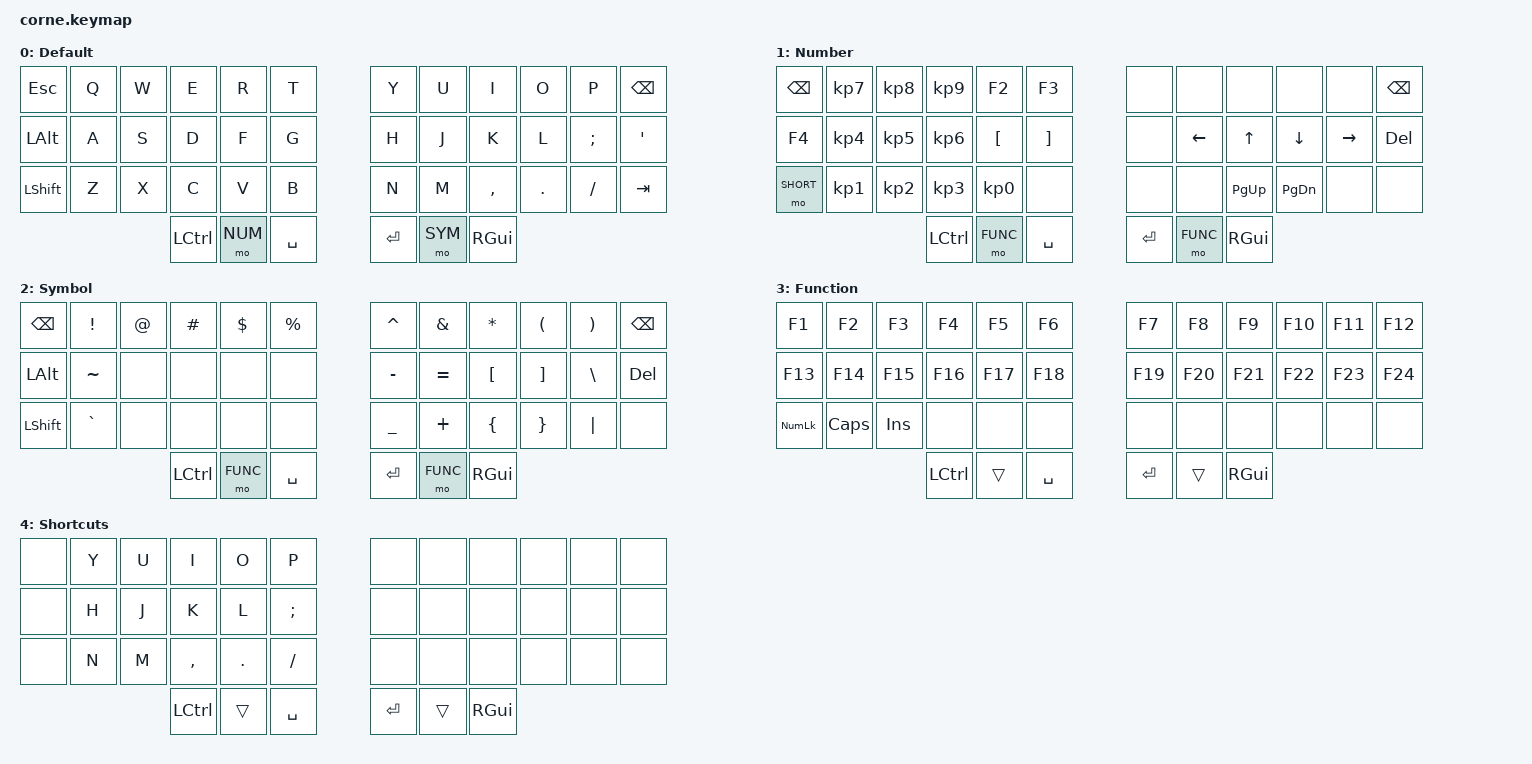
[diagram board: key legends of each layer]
/*
 * Copyright (c) 2020 The ZMK Contributors
 *
 * SPDX-License-Identifier: MIT
 */

#include <behaviors.dtsi>
#include <dt-bindings/zmk/keys.h>
#include <dt-bindings/zmk/bt.h>

#define DEFAULT 0
#define NUM 1
#define SYM 2
#define FUNC 3
#define SHORT 4

/ {
        keymap {
                compatible = "zmk,keymap";

                default_layer {
                        display-name = "Default";
                        bindings = <
//        |     ESC    |     Q   |     W   |     E   |     R   |     T   |---|     Y   |     U    |     I    |     O    |     P    | Backspace|
          &kp ESC    &kp Q     &kp W     &kp E     &kp R     &kp T         &kp Y     &kp U      &kp I     &kp O       &kp P      &kp BSPC

//        |   LALT   |     A   |     S   |     D   |     F   |     G   |---|     H   |     J    |     K    |     L    |   ;      |     '    |
          &kp LALT   &kp A     &kp S     &kp D     &kp F     &kp G         &kp H     &kp J      &kp K     &kp L       &kp SEMI   &kp SQT

//        |    LSHFT |     Z   |     X   |     C   |     V   |     B   |---|     N   |     M    |     ,    |     .    |     /    |  TAB     |
          &kp LSHFT   &kp Z     &kp X     &kp C     &kp V     &kp B         &kp N     &kp M      &kp COMMA  &kp DOT    &kp FSLH   &kp TAB

//                                       |   LCTRL  |   LWR   |   SPC  |---| ENT     | RSE      |     RWIN |
                                          &kp LCTRL  &mo NUM   &kp SPACE     &kp RET   &mo SYM    &kp RGUI
                        >;
                };

                number_layer {
                        display-name = "Number";
                        bindings = <
//        | Backspace|     7   |     8   |     9   |   F2    |   F3    |---|          |          |          |          |          | Backspace|
          &kp BSPC    &kp KP_N7 &kp KP_N8 &kp KP_N9 &kp F2    &kp F3        &none      &none      &none      &none      &none      &kp BSPC

//        |     F4   |     4   |     5   |     6   |    [    |    ]    |---|          |   <-     |     ^    |     \/   |     ->   | Delete   |
          &kp F4   &kp KP_N4 &kp KP_N5 &kp KP_N6 &kp LBKT  &kp RBKT      &none      &kp LEFT   &kp UP     &kp DOWN   &kp RIGHT  &kp DEL

//        |   SHORT  |     1   |     2   |     3   |    0    |         |---|          |          |   page up| page down|          |          |
           &mo SHORT  &kp KP_N1 &kp KP_N2 &kp KP_N3 &kp KP_N0 &none         &none      &none     &kp PG_UP &kp PG_DN    &none      &none

//                                       |  LCTRL  |   LWR   |   SPC   |---| ENT      | RSE      |     RWIN |
                                          &kp LCTRL &mo FUNC  &kp SPACE     &kp RET    &mo FUNC    &kp RGUI
                        >;
                }; 

                symbol_layer {
                        display-name = "Symbol";
                        bindings = <
//        | Backspace|    !    |    @    |    #    |    $    |    %    |---|     ^    |     &    |     *    |     (    |     )    | Backspace|
          &kp BSPC     &kp EXCL &kp AT    &kp POUND &kp DLLR  &kp PRCNT     &kp CARET  &kp AMPS   &kp STAR   &kp LPAR   &kp RPAR   &kp BSPC

//        |    ALT   |         |         |         |         |         |---|     -    |     =    |    [     |     ]    |    \     |  Delete  |
          &kp LALT    &kp TILDE  &none     &none     &none     &none         &kp MINUS  &kp EQUAL  &kp LBKT   &kp RBKT   &kp BSLH   &kp DEL

//        |    LSHFT |         |         |         |         |         |---|     _    |     +    |     {    |     }    |    |     |          |
          &kp LSHFT   &kp GRAVE  &none     &none     &none     &none         &kp UNDER  &kp PLUS   &kp LBRC   &kp RBRC   &kp PIPE   &none

//                                       |  LCTRL  |   LWR   |   SPC   |---| ENT      | RSE      |     RWIN |
                                          &kp LCTRL &mo FUNC  &kp SPACE     &kp RET    &mo FUNC   &kp RGUI
                        >;
                };

                function_layer {
                        display-name = "Function";
                        bindings = <
//        | F1       |     F2  |    F3   |    F4   |   F5    |    F6   |---|     F7   |    F8    |   F9     |    F10    |    F11  |    F12   |
          &kp F1      &kp F2   &kp F3     &kp F4    &kp F5    &kp F6        &kp F7      &kp F8    &kp F9     &kp F10     &kp F11   &kp F12

//        | F13      |    F14  |    F15  |    F16  |   F17   |    F18  |---|    F19   |    F20   |   F21    |    F22    |    F23  |    F24   |
          &kp F13     &kp F14  &kp F15    &kp F16   &kp F17   &kp F18       &kp F19    &kp F20    &kp F21     &kp F22     &kp F23   &kp F24

//        |  NUMLOCK |  CAPS   | Insert  |         |         |         |---|          |          |          |          |          |          |
          &kp KP_NUM  &kp CAPS  &kp INS   &none     &none     &none         &none      &none      &none      &none      &none      &none

//                                       |  LCTRL  |   LWR   |   SPC   |---| ENT      | RSE      |     RWIN |
                                          &kp LCTRL &trans    &kp SPACE     &kp RET   &trans    &kp RGUI
                        >;
                };

                shortcut_layer {
                        display-name = "Shortcuts";
                        bindings = <
//        |          |  Y      |  U     |  I      |  O       |  P      |---|          |          |          |           |         |          |
          &none       &kp Y     &kp U    &kp I     &kp O      &kp P         &none      &none      &none      &none      &none      &none

//        |          |   H     |  J     |  K      |  L       |  ;      |---|          |          |          |           |         |          |
          &none       &kp H     &kp J    &kp K     &kp L      &kp SEMI      &none      &none      &none      &none      &none      &none

//        |         |   N     |   M     |   ,     |     .    |  /      |---|          |          |          |          |          |          |
          &none       &kp N     &kp M    &kp COMMA &kp DOT   &kp FSLH         &none      &none      &none      &none      &none      &none

//                                       |  LCTRL  |   LWR   |   SPC   |---| ENT      | RSE      |     RWIN |
                                          &kp LCTRL &trans    &kp SPACE     &kp RET   &trans    &kp RGUI
                        >;
                };

                
        };
};
